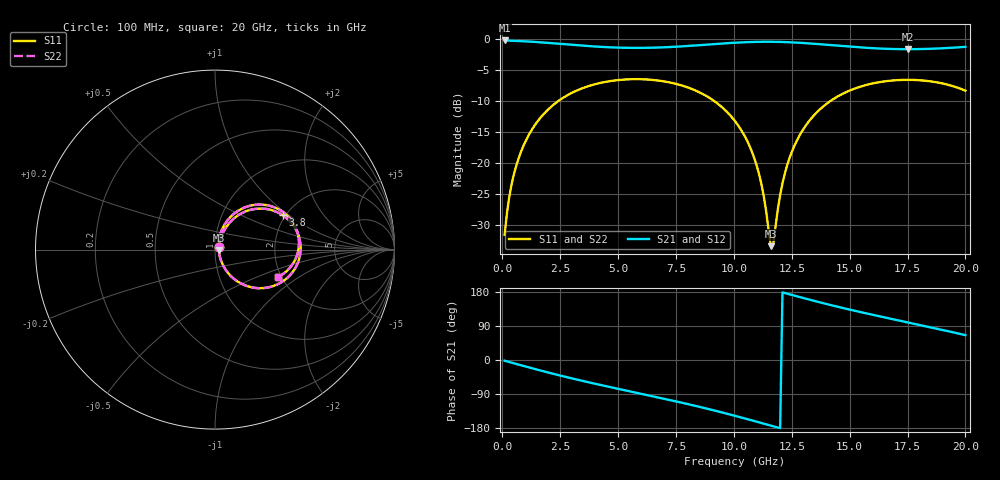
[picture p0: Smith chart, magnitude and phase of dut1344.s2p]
! Touchstone file exported from HFSS 2026.1.0
!  File:  C:/ffzhzh/LocalFiles/Ansys_Project_Files/temp_train_TSV_RDL_1344_1783339620_5512.aedt
!  Generated:  08:19:09 PM Jul  6, 2026
!  Design:  TSV_RDL
!  Project:  temp_train_TSV_RDL_1344_1783339620_5512
! Variables:
!  h_bsmrdl = 4.11um
!  h_ox = 20um
!  h_rdl = 5um
!  h_sub = 55.16um
!  h_tmrdl = 2.86um
!  h_tsv = 55.16um
!  h_via = 3um
!  l_bsmrdl = 717.13um
!  l_sub = 5292.38um
!  l_tmrdl = 644.59um
!  m_sub = 200um
!  pitch = 51.23um
!  r_tsv = 11.73um
!  s_tmrdl = 10um
!  w_bsmrdl = 29.63um
!  w_sub = 500um
!  w_tmrdl = 24.58um
!  x_tsv_center1 = 656.88um
!  x_tsv_center2 = 1403.64um
!  x_tsv_center3 = 2072.81um
!  x_tsv_center4 = 2819.57um
!  x_tsv_center5 = 3488.74um
!  x_tsv_center6 = 4235.5um
# GHz S MA R 50.000000
! Terminal data exported
! Port[1] = TM_RDL1_1_T1
! Port[2] = TM_RDL5_1_T1
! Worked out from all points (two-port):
!   200 points, 100 MHz to 20 GHz, reference 50 ohm
!   highest |S21| = -0.18 dB at 100 MHz (marker M1); lowest = -1.6 dB at 17.5 GHz (marker M2)
!   |S21| within 3 dB of the highest: start of sweep to end of sweep
!   lowest |S11| = -33.4 dB at 11.6 GHz (marker M3), VSWR 1.04, Z = 52.1 - j0.431 ohm
!   |S11| at or under -10 dB: start of sweep to 2.407 GHz; 9.164 GHz to 14.16 GHz (4.992 GHz wide, 42.8 % of centre)
!   |S22| runs from -33.6 to -6.4 dB; largest |S21 - S12| = 1.6e-14
!   S11 on the Smith chart (normalised r, x): 100 MHz: 1.04, +0.03; 3.8 GHz: 1.93, +0.90; 20 GHz: 1.93, -0.69
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0.1  0.02635 37.8  0.9796 -1.8  0.9796 -1.8  0.02635 37.8
! Gamma 0 0 0 0
! Port Impedance 50 0 50 0
0.3  0.05324 59.5  0.9762 -5.3  0.9762 -5.3  0.05324 59.5
0.5  0.08113 63.7  0.9726 -8.7  0.9726 -8.7  0.08113 63.7
1.1  0.1629 62.0  0.9609 -18.8  0.9609 -18.8  0.1629 62.0
2.1  0.2845 49.9  0.9324 -34.9  0.9324 -34.9  0.2845 49.9
3.5  0.4054 30.9  0.888 -55.7  0.888 -55.7  0.4054 30.9
3.8  0.4233 26.9  0.88 -59.9  0.88 -59.9  0.4233 26.9
5.3  0.4739 7.7  0.8549 -80.0  0.8549 -80.0  0.4739 7.7
6.8  0.4631 -11.1  0.8598 -99.7  0.8598 -99.7  0.4631 -11.2
8.7  0.3584 -36.2  0.9025 -126.3  0.9025 -126.3  0.3585 -36.3
10.1  0.2122 -55.2  0.9403 -148.1  0.9403 -148.1  0.2123 -55.3
11  0.09366 -62.6  0.9545 -163.0  0.9545 -163.0  0.09372 -62.9
11.3  0.05302 -57.4  0.9562 -168.1  0.9562 -168.1  0.053 -57.9
11.6  0.02133 -11.2  0.9561 -173.2  0.9561 -173.2  0.02096 -11.9
11.7  0.02219 25.6  0.9557 -174.9  0.9557 -174.9  0.02172 25.7
12  0.05529 66.5  0.9533 -179.9  0.9533 -179.9  0.05499 66.9
12.3  0.09578 71.0  0.9492 175.0  0.9492 175.0  0.09553 71.2
13.4  0.2364 60.9  0.9229 157.1  0.9229 157.1  0.2362 61.0
14.8  0.3712 42.2  0.8789 135.9  0.8789 135.9  0.371 42.3
16.7  0.4623 18.0  0.8374 109.9  0.8374 109.9  0.4622 18.0
17.5  0.471 8.1  0.8328 99.4  0.8328 99.4  0.4709 8.2
20  0.3848 -23.2  0.8697 65.6  0.8697 65.6  0.3847 -23.2
